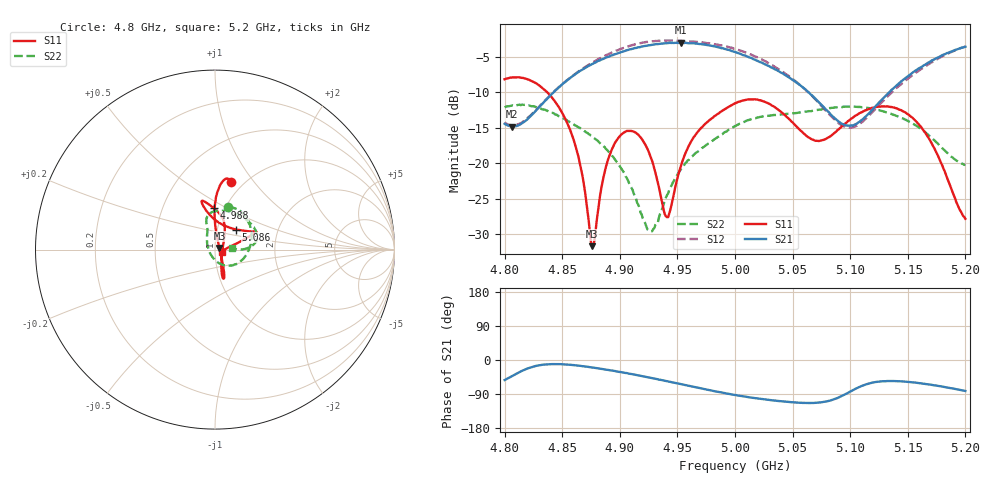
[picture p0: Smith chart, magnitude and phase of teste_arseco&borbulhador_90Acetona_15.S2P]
! Network Analyzer HP8722D
! Hewlett-Packard
! Data name: Linha & Wilkinson
! Saver's name: Rodrigo Anjos
! Comments: Teste da utilização de aquisição
! continua pelo VNA HP8722D
! Time and date: 17/4/2025 11:10
!  Frequency  S11  S21  S12  S22
# HZ  S  MA R 50
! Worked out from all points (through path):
!   401 points, 4.8 GHz to 5.2 GHz, reference 50 ohm
!   highest |S21| = -3.06 dB at 4.953 GHz (marker M1); lowest = -14.9 dB at 4.806 GHz (marker M2)
!   lowest |S11| = -31.6 dB at 4.876 GHz (marker M3), VSWR 1.05, Z = 52.5 + j0.979 ohm
!   |S11| at or under -10 dB: 4.837 GHz to end of sweep
!   |S22| runs from -29.6 to -11.8 dB; largest |S21 - S12| = 1.4
!   S11 on the Smith chart (normalised r, x): 4.8 GHz: 0.87, +0.78; 4.988 GHz: 0.89, +0.43; 5.086 GHz: 1.23, +0.28; 5.2 GHz: 1.08, -0.03
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4.8e9  0.3892 76.8  0.1894 -52.9  0.1928 82.2  0.2471 72.4
4.806e9  0.3997 78.6  0.1806 -43.2  0.1845 91.0  0.2536 67.1
4.843e9  0.2768 89.2  0.3184 -10.7  0.3192 122.6  0.2235 24.3
4.857e9  0.1708 90.6  0.3985 -12.6  0.3993 122.5  0.1933 3.2
4.867e9  0.08599 84.1  0.4531 -16.1  0.4565 121.0  0.1732 -12.2
4.876e9  0.02616 20.9  0.4979 -19.9  0.5084 118.8  0.1544 -26.7
4.888e9  0.09472 -62.3  0.5534 -25.3  0.5731 114.9  0.1258 -44.6
4.902e9  0.1607 -71.6  0.606 -32.6  0.64 108.9  0.08991 -66.8
4.925e9  0.1211 -72.8  0.6744 -45.9  0.7139 96.1  0.03394 -142.6
4.934e9  0.06767 -57.6  0.6894 -51.9  0.7267 90.3  0.04167 161.3
4.942e9  0.04189 3.0  0.6982 -56.9  0.7286 85.2  0.06152 135.3
4.953e9  0.09586 56.7  0.7029 -63.7  0.7231 78.4  0.09065 119.6
4.966e9  0.1597 71.5  0.6925 -72.0  0.713 70.1  0.1183 111.3
4.988e9  0.2308 91.8  0.6439 -85.6  0.6736 55.8  0.159 107.8
5e9  0.2638 100.0  0.6046 -92.4  0.6378 48.4  0.1826 104.9
5.028e9  0.2658 105.5  0.4873 -104.6  0.5101 34.0  0.2158 88.8
5.067e9  0.1471 76.5  0.2993 -113.3  0.2971 27.6  0.2334 54.3
5.086e9  0.1626 43.5  0.2092 -103.6  0.2043 39.3  0.2463 36.4
5.104e9  0.2145 28.5  0.1874 -77.0  0.1807 67.7  0.2495 22.5
5.134e9  0.2498 23.1  0.3158 -55.4  0.3028 91.0  0.2247 8.9
5.164e9  0.1684 19.1  0.4884 -62.7  0.4738 85.3  0.1685 1.4
5.2e9  0.04073 -17.3  0.6587 -81.7  0.6604 67.6  0.09726 5.6
